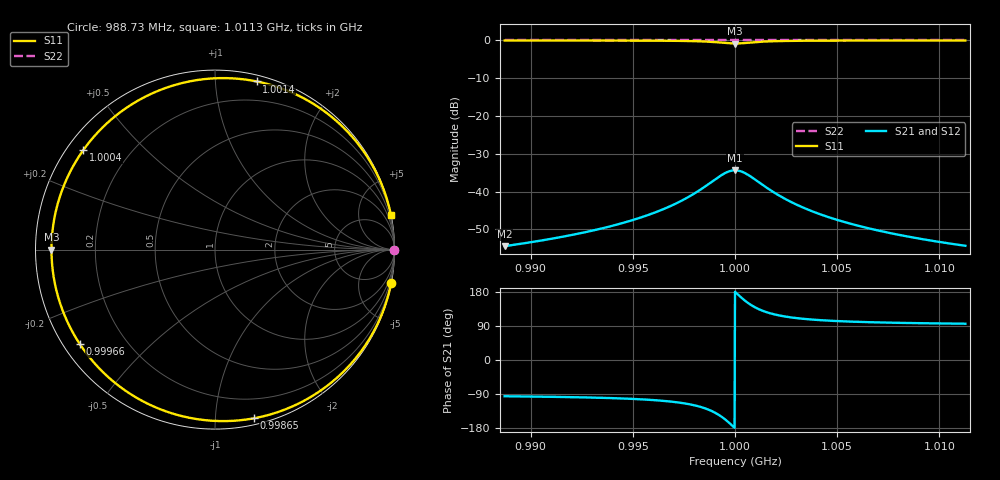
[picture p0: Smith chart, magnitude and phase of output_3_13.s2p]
! File generated for n1 = 3, n2 = 13
! b1 = 21.544347
! b2 = 0.002154
! Q0 = 10000.000000
! f0 = 1000000000.000000
! n = 1001
! rel_span = 10.000000
# Hz S RI R 50
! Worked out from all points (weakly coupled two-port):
!   1001 points, 988.73 MHz to 1.0113 GHz, reference 50 ohm
!   highest |S21| = -34.37 dB at 1 GHz (marker M1); lowest = -54.5 dB at 988.73 MHz (marker M2)
!   lowest |S11| = -0.8 dB at 1 GHz (marker M3), VSWR 21.50, Z = 2.33 + j0 ohm
!   |S11| at or under -10 dB: nowhere
!   |S22| runs from 0.0 to 0.0 dB; largest |S21 - S12| = 0
!   S11 on the Smith chart (normalised r, x): 988.73 MHz: 0, -11; 998.65 MHz: 0.05, -1.26; 999.66 MHz: 0.05, -0.31; 1.0004 GHz: 0.05, +0.33; 1.0014 GHz: 0.05, +1.28; 1.0113 GHz: 0, +10
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9.887267e8  0.9813 -0.1882  -0.000187 -0.00188  -0.000187 -0.00188  1 -1.88e-05
9.92492e8  0.9582 -0.2796  -0.000418 -0.0028  -0.000418 -0.0028  1 -2.8e-05
9.946339e8  0.9196 -0.3836  -0.000804 -0.00384  -0.000804 -0.00384  1 -3.84e-05
9.962573e8  0.8416 -0.5269  -0.00158 -0.00527  -0.00158 -0.00527  1 -5.27e-05
9.977003e8  0.6304 -0.7548  -0.0037 -0.00755  -0.0037 -0.00755  1 -7.55e-05
9.982188e8  0.4541 -0.8633  -0.00546 -0.00863  -0.00546 -0.00863  0.9999 -8.63e-05
9.986472e8  0.2174 -0.9398  -0.00783 -0.0094  -0.00783 -0.0094  0.9999 -9.4e-05
9.992109e8  -0.2823 -0.898  -0.0128 -0.00898  -0.0128 -0.00898  0.9999 -8.98e-05
9.994363e8  -0.5287 -0.7646  -0.0153 -0.00765  -0.0153 -0.00765  0.9998 -7.65e-05
9.996618e8  -0.7533 -0.5261  -0.0175 -0.00526  -0.0175 -0.00526  0.9998 -5.26e-05
1e9  -0.9111 0  -0.0191 0  -0.0191 0  0.9998 0
1.00018e9  -0.8634 0.2981  -0.0186 0.00298  -0.0186 0.00298  0.9998 2.98e-05
1.000361e9  -0.7336 0.5547  -0.0173 0.00555  -0.0173 0.00555  0.9998 5.55e-05
1.000564e9  -0.5291 0.7643  -0.0153 0.00764  -0.0153 0.00764  0.9998 7.64e-05
1.000789e9  -0.283 0.8977  -0.0128 0.00898  -0.0128 0.00898  0.9999 8.98e-05
1.001037e9  -0.0355 0.9522  -0.0104 0.00952  -0.0104 0.00952  0.9999 9.52e-05
1.001375e9  0.2314 0.9371  -0.00769 0.00937  -0.00769 0.00937  0.9999 9.37e-05
1.001804e9  0.4625 0.8593  -0.00538 0.00859  -0.00538 0.00859  0.9999 8.59e-05
1.002322e9  0.6349 0.7513  -0.00365 0.00751  -0.00365 0.00751  1 7.51e-05
1.003765e9  0.8422 0.5259  -0.00158 0.00526  -0.00158 0.00526  1 5.26e-05
1.007531e9  0.9578 0.2808  -0.000422 0.00281  -0.000422 0.00281  1 2.81e-05
1.011273e9  0.9809 0.1903  -0.000191 0.0019  -0.000191 0.0019  1 1.9e-05
